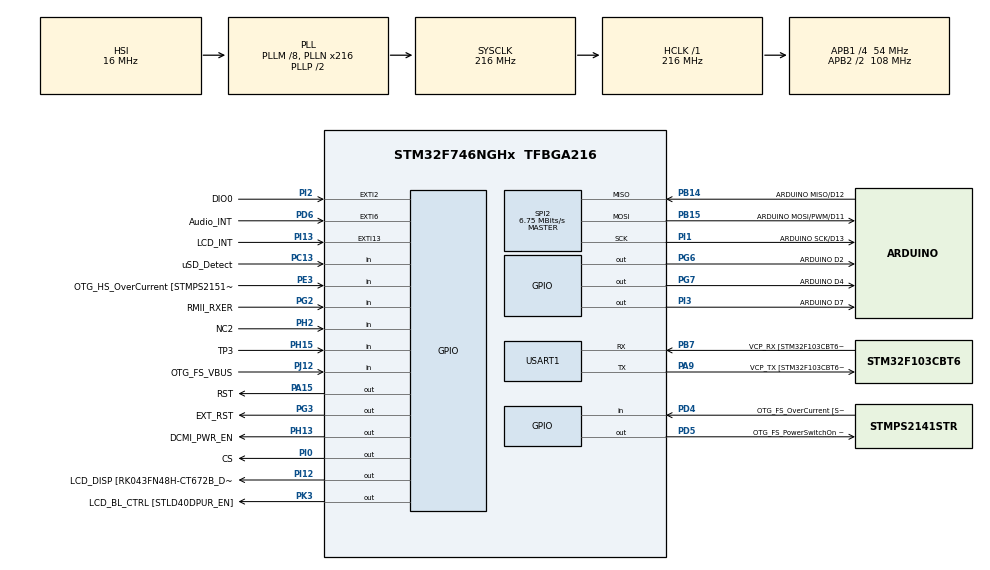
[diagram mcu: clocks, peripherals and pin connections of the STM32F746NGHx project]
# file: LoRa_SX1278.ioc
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Mcu.Family=STM32F7
Mcu.Name=STM32F746NGHx
Mcu.Package=TFBGA216
NVIC.EXTI2_IRQn=true\:0\:0\:false\:false\:true\:true\:true\:true
NVIC.PriorityGroup=NVIC_PRIORITYGROUP_4
NVIC.SPI2_IRQn=true\:0\:0\:false\:false\:true\:true\:true\:true
PA0/WKUP.GPIO_Label=ARDUINO A0
PA0/WKUP.GPIO_Mode=GPIO_MODE_ANALOG
PA0/WKUP.GPIO_PuPd=GPIO_NOPULL
PA0/WKUP.Signal=ADCx_IN0
PA1.GPIO_Label=RMII_REF_CLK [LAN8742A-CZ-TR_REFCLK0]
PA1.Signal=ETH_REF_CLK
PA10.GPIO_Label=OTG_FS_ID
PA10.Signal=USB_OTG_FS_ID
PA11.GPIO_Label=OTG_FS_N
PA11.Signal=USB_OTG_FS_DM
PA12.GPIO_Label=OTG_FS_P
PA12.Signal=USB_OTG_FS_DP
PA13.GPIO_Label=SWDIO
PA13.Mode=Serial_Wire
PA13.Signal=SYS_JTMS-SWDIO
PA14.GPIO_Label=SWCLK
PA14.Mode=Serial_Wire
PA14.Signal=SYS_JTCK-SWCLK
PA15.GPIO_Label=RST
PA15.PinState=GPIO_PIN_SET
PA15.Signal=GPIO_Output
PA2.GPIO_Label=RMII_MDIO [LAN8742A-CZ-TR_MDIO]
PA2.Signal=ETH_MDIO
PA3.GPIO_Label=ULPI_D0 [USB3320C-EZK_D0]
PA3.Signal=USB_OTG_HS_ULPI_D0
PA4.GPIO_Label=DCMI_HSYNC
PA4.Signal=DCMI_HSYNC
PA5.GPIO_Label=ULPI_CLK [USB3320C-EZK_CLKOUT]
PA5.Signal=USB_OTG_HS_ULPI_CK
PA6.Signal=DCMI_PIXCLK
PA7.GPIO_Label=RMII_CRS_DV [LAN8742A-CZ-TR_CRS_DV]
PA7.Signal=ETH_CRS_DV
PA8.GPIO_Label=ARDUINO PWM/D10
PA8.GPIO_ModeDefaultPP=GPIO_MODE_AF_PP
PA8.GPIO_PuPd=GPIO_NOPULL
PA8.GPIO_Speed=GPIO_SPEED_FREQ_LOW
PA8.Signal=S_TIM1_CH1
PA9.GPIO_Label=VCP_TX [STM32F103CBT6_PA3]
PA9.GPIO_Mode=GPIO_MODE_AF_PP
PA9.GPIO_PuPd=GPIO_NOPULL
PA9.GPIO_Speed=GPIO_SPEED_FREQ_LOW
PA9.Mode=Asynchronous
PA9.Signal=USART1_TX
PB0.GPIO_Label=ULPI_D1 [USB3320C-EZK_D1]
PB0.Signal=USB_OTG_HS_ULPI_D1
PB1.GPIO_Label=ULPI_D2 [USB3320C-EZK_D2]
PB1.Signal=USB_OTG_HS_ULPI_D2
PB10.GPIO_Label=ULPI_D3 [USB3320C-EZK_D3]
PB10.Signal=USB_OTG_HS_ULPI_D3
PB11.GPIO_Label=ULPI_D4 [USB3320C-EZK_D4]
PB11.Signal=USB_OTG_HS_ULPI_D4
PB12.GPIO_Label=ULPI_D5 [USB3320C-EZK_D5]
PB12.Signal=USB_OTG_HS_ULPI_D5
PB13.GPIO_Label=ULPI_D6 [USB3320C-EZK_D6]
PB13.Signal=USB_OTG_HS_ULPI_D6
PB14.GPIO_Label=ARDUINO MISO/D12
PB14.GPIO_Mode=GPIO_MODE_AF_PP
PB14.GPIO_PuPd=GPIO_NOPULL
PB14.GPIO_Speed=GPIO_SPEED_FREQ_LOW
PB14.Mode=Full_Duplex_Master
PB14.Signal=SPI2_MISO
PB15.GPIO_Label=ARDUINO MOSI/PWM/D11
PB15.GPIO_Mode=GPIO_MODE_AF_PP
PB15.GPIO_PuPd=GPIO_NOPULL
PB15.GPIO_Speed=GPIO_SPEED_FREQ_LOW
PB15.Mode=Full_Duplex_Master
PB15.Signal=SPI2_MOSI
PB2.Signal=QUADSPI_CLK
PB3.GPIO_Label=SWO
PB3.Signal=SYS_JTDO-SWO
PB4.GPIO_Label=ARDUINO PWM/D3
PB4.GPIO_ModeDefaultPP=GPIO_MODE_AF_PP
PB4.GPIO_PuPd=GPIO_NOPULL
PB4.GPIO_Speed=GPIO_SPEED_FREQ_LOW
PB4.Signal=S_TIM3_CH1
PB5.GPIO_Label=ULPI_D7 [USB3320C-EZK_D7]
PB5.Signal=USB_OTG_HS_ULPI_D7
PB6.GPIO_Label=QSPI_NCS [N25Q128A13EF840E_S]
PB6.Signal=QUADSPI_BK1_NCS
PB7.GPIO_Label=VCP_RX [STM32F103CBT6_PA2]
PB7.GPIO_Mode=GPIO_MODE_AF_PP
PB7.GPIO_PuPd=GPIO_NOPULL
PB7.GPIO_Speed=GPIO_SPEED_FREQ_LOW
PB7.Mode=Asynchronous
PB7.Signal=USART1_RX
PB8.GPIO_Label=ARDUINO SCL/D15
PB8.GPIO_Mode=GPIO_MODE_AF_OD
PB8.GPIO_PuPd=GPIO_NOPULL
PB8.GPIO_Speed=GPIO_SPEED_FREQ_LOW
PB8.Signal=I2C1_SCL
PB9.GPIO_Label=ARDUINO SDA/D14
PB9.GPIO_Mode=GPIO_MODE_AF_OD
PB9.GPIO_PuPd=GPIO_NOPULL
PB9.GPIO_Speed=GPIO_SPEED_FREQ_LOW
PB9.Signal=I2C1_SDA
PC0.GPIO_Label=ULPI_STP [USB3320C-EZK_STP]
PC0.Signal=USB_OTG_HS_ULPI_STP
PC1.GPIO_Label=RMII_MDC [LAN8742A-CZ-TR_MDC]
PC1.Signal=ETH_MDC
PC10.GPIO_Label=SDMMC_D2
PC10.Signal=SDMMC1_D2
PC11.GPIO_Label=SDMMC_D3
PC11.Signal=SDMMC1_D3
PC12.GPIO_Label=SDMMC_CK
PC12.Signal=SDMMC1_CK
PC13.GPIO_Label=uSD_Detect
PC13.Signal=GPIO_Input
PC14/OSC32_IN.GPIO_Label=RCC_OSC32_IN
PC14/OSC32_IN.Mode=LSE-External-Oscillator
PC14/OSC32_IN.Signal=RCC_OSC32_IN
PC15/OSC32_OUT.GPIO_Label=RCC_OSC32_OUT
PC15/OSC32_OUT.Mode=LSE-External-Oscillator
PC15/OSC32_OUT.Signal=RCC_OSC32_OUT
PC2.GPIO_Label=ULPI_DIR [USB3320C-EZK_DIR]
PC2.Signal=USB_OTG_HS_ULPI_DIR
PC3.GPIO_Label=FMC_SDCKE0 [MT48LC4M32B2B5-6A_CKE]
PC3.Signal=FMC_SDCKE0
PC4.GPIO_Label=RMII_RXD0 [LAN8742A-CZ-TR_RXD0]
PC4.Signal=ETH_RXD0
PC5.GPIO_Label=RMII_RXD1 [LAN8742A-CZ-TR_RXD1]
PC5.Signal=ETH_RXD1
PC6.GPIO_Label=ARDUINO TX/D1
PC6.Signal=USART6_TX
PC7.GPIO_Label=ARDUINO RX/D0
PC7.Signal=USART6_RX
PC8.Signal=SDMMC1_D0
PC9.Signal=SDMMC1_D1
PD0.GPIO_Label=FMC_D2 [MT48LC4M32B2B5-6A_DQ2]
PD0.Signal=FMC_D2_DA2
PD1.GPIO_Label=FMC_D3 [MT48LC4M32B2B5-6A_DQ3]
PD1.Signal=FMC_D3_DA3
PD10.GPIO_Label=FMC_D15 [MT48LC4M32B2B5-6A_DQ15]
PD10.Signal=FMC_D15_DA15
PD11.GPIO_Label=QSPI_D0 [N25Q128A13EF840E_DQ0]
PD11.Signal=QUADSPI_BK1_IO0
PD12.GPIO_Label=QSPI_D1 [N25Q128A13EF840E_DQ1]
PD12.Signal=QUADSPI_BK1_IO1
PD13.GPIO_Label=QSPI_D3 [N25Q128A13EF840E_DQ3]
PD13.Signal=QUADSPI_BK1_IO3
PD14.GPIO_Label=FMC_D0 [MT48LC4M32B2B5-6A_DQ0]
PD14.Signal=FMC_D0_DA0
PD15.GPIO_Label=FMC_D1 [MT48LC4M32B2B5-6A_DQ1]
PD15.Signal=FMC_D1_DA1
PD2.GPIO_Label=SDMMC_D0
PD2.Signal=SDMMC1_CMD
PD3.GPIO_Label=DCMI_D5
PD3.Signal=DCMI_D5
PD4.GPIO_Label=OTG_FS_OverCurrent [STMPS2141STR_Fault]
PD4.Signal=GPIO_Input
PD5.GPIO_Label=OTG_FS_PowerSwitchOn [STMPS2141STR_EN]
PD5.PinState=GPIO_PIN_SET
PD5.Signal=GPIO_Output
PD6.GPIO_Label=Audio_INT
PD6.GPIO_ModeDefaultEXTI=GPIO_MODE_EVT_RISING
PD6.Signal=GPXTI6
PD7.GPIO_Label=SPDIF_RX0 [74LVC1G04SE_4]
PD7.Signal=SPDIFRX_IN0
PD8.GPIO_Label=FMC_D13 [MT48LC4M32B2B5-6A_DQ13]
PD8.Signal=FMC_D13_DA13
PD9.GPIO_Label=FMC_D14 [MT48LC4M32B2B5-6A_DQ14]
PD9.Signal=FMC_D14_DA14
PE0.GPIO_Label=FMC_NBL0 [MT48LC4M32B2B5-6A_DQM0]
PE0.Signal=FMC_NBL0
PE1.GPIO_Label=FMC_NBL1 [MT48LC4M32B2B5-6A_DQM1]
PE1.Signal=FMC_NBL1
PE10.GPIO_Label=FMC_D7 [MT48LC4M32B2B5-6A_DQ7]
PE10.Signal=FMC_D7_DA7
PE11.GPIO_Label=FMC_D8 [MT48LC4M32B2B5-6A_DQ8]
PE11.Signal=FMC_D8_DA8
PE12.GPIO_Label=FMC_D9 [MT48LC4M32B2B5-6A_DQ9]
PE12.Signal=FMC_D9_DA9
PE13.GPIO_Label=FMC_D10 [MT48LC4M32B2B5-6A_DQ10]
PE13.Signal=FMC_D10_DA10
PE14.GPIO_Label=FMC_D11 [MT48LC4M32B2B5-6A_DQ11]
PE14.Signal=FMC_D11_DA11
PE15.GPIO_Label=FMC_D12 [MT48LC4M32B2B5-6A_DQ12]
PE15.Signal=FMC_D12_DA12
PE2.GPIO_Label=QSPI_D2 [N25Q128A13EF840E_DQ2]
PE2.Signal=QUADSPI_BK1_IO2
PE3.GPIO_Label=OTG_HS_OverCurrent [STMPS2151STR_FAULT]
PE3.Signal=GPIO_Input
PE4.GPIO_Label=LCD_B0 [RK043FN48H-CT672B_B0]
PE4.Signal=LTDC_B0
PE5.GPIO_Label=DCMI_D6
PE5.Signal=DCMI_D6
PE6.GPIO_Label=DCMI_D7
PE6.Signal=DCMI_D7
PE7.GPIO_Label=FMC_D4 [MT48LC4M32B2B5-6A_DQ4]
PE7.Signal=FMC_D4_DA4
PE8.GPIO_Label=FMC_D5 [MT48LC4M32B2B5-6A_DQ5]
PE8.Signal=FMC_D5_DA5
PE9.GPIO_Label=FMC_D6 [MT48LC4M32B2B5-6A_DQ6]
PE9.Signal=FMC_D6_DA6
PF0.GPIO_Label=FMC_A0 [MT48LC4M32B2B5-6A_A0]
PF0.Signal=FMC_A0
PF1.GPIO_Label=FMC_A1 [MT48LC4M32B2B5-6A_A1]
PF1.Signal=FMC_A1
PF10.GPIO_Label=ARDUINO A1
PF10.GPIO_Mode=GPIO_MODE_ANALOG
PF10.GPIO_PuPd=GPIO_NOPULL
PF10.Signal=ADC3_IN8
PF11.GPIO_Label=FMC_SDNRAS [MT48LC4M32B2B5-6A_RAS]
PF11.Signal=FMC_SDNRAS
PF12.GPIO_Label=FMC_A6 [MT48LC4M32B2B5-6A_A6]
PF12.Signal=FMC_A6
PF13.GPIO_Label=FMC_A7 [MT48LC4M32B2B5-6A_A7]
PF13.Signal=FMC_A7
PF14.GPIO_Label=FMC_A8 [MT48LC4M32B2B5-6A_A8]
PF14.Signal=FMC_A8
PF15.GPIO_Label=FMC_A9 [MT48LC4M32B2B5-6A_A9]
PF15.Signal=FMC_A9
PF2.GPIO_Label=FMC_A2 [MT48LC4M32B2B5-6A_A2]
PF2.Signal=FMC_A2
PF3.GPIO_Label=FMC_A3 [MT48LC4M32B2B5-6A_A3]
PF3.Signal=FMC_A3
PF4.GPIO_Label=FMC_A4 [MT48LC4M32B2B5-6A_A4]
PF4.Signal=FMC_A4
PF5.GPIO_Label=FMC_A5 [MT48LC4M32B2B5-6A_A5]
PF5.Signal=FMC_A5
PF6.GPIO_Label=ARDUINO A5
PF6.GPIO_Mode=GPIO_MODE_ANALOG
PF6.GPIO_PuPd=GPIO_NOPULL
PF6.Signal=ADC3_IN4
PF7.GPIO_Label=ARDUINO A4
PF7.GPIO_Mode=GPIO_MODE_ANALOG
PF7.GPIO_PuPd=GPIO_NOPULL
PF7.Signal=ADC3_IN5
PF8.GPIO_Label=ARDUINO A3
PF8.GPIO_Mode=GPIO_MODE_ANALOG
PF8.GPIO_PuPd=GPIO_NOPULL
PF8.Signal=ADC3_IN6
PF9.GPIO_Label=ARDUINO A2
PF9.GPIO_Mode=GPIO_MODE_ANALOG
PF9.GPIO_PuPd=GPIO_NOPULL
PF9.Signal=ADC3_IN7
PG0.GPIO_Label=FMC_A10 [MT48LC4M32B2B5-6A_A10]
PG0.Signal=FMC_A10
PG1.GPIO_Label=FMC_A11 [MT48LC4M32B2B5-6A_A11]
PG1.Signal=FMC_A11
PG10.GPIO_Label=SAI2_SDB [WM8994ECS/R_ADCDAT1]
PG10.Signal=SAI2_SD_B
PG11.GPIO_Label=RMII_TX_EN [LAN8742A-CZ-TR_TXEN]
PG11.Signal=ETH_TX_EN
PG12.GPIO_Label=LCD_B4 [RK043FN48H-CT672B_B4]
PG12.Signal=LTDC_B4
PG13.GPIO_Label=RMII_TXD0 [LAN8742A-CZ-TR_TXD0]
PG13.Signal=ETH_TXD0
PG14.GPIO_Label=RMII_TXD1 [LAN8742A-CZ-TR_TXD1]
PG14.Signal=ETH_TXD1
PG15.GPIO_Label=FMC_SDNCAS [MT48LC4M32B2B5-6A_CAS]
PG15.Signal=FMC_SDNCAS
PG2.GPIO_Label=RMII_RXER
PG2.Signal=GPIO_Input
PG3.GPIO_Label=EXT_RST
PG3.Signal=GPIO_Output
PG4.GPIO_Label=FMC_BA0 [MT48LC4M32B2B5-6A_BA0]
PG4.Signal=FMC_A14_BA0
PG5.GPIO_Label=FMC_BA1 [MT48LC4M32B2B5-6A_BA1]
PG5.Signal=FMC_A15_BA1
PG6.GPIO_Label=ARDUINO D2
PG6.Signal=GPIO_Output
PG7.GPIO_Label=ARDUINO D4
PG7.Signal=GPIO_Output
PG8.GPIO_Label=FMC_SDCLK [MT48LC4M32B2B5-6A_CLK]
PG8.Signal=FMC_SDCLK
PG9.GPIO_Label=DCMI_VSYNC
PG9.Signal=DCMI_VSYNC
PH0/OSC_IN.GPIO_Label=OSC_25M [NZ2520SB-25.00M_OUT]
PH0/OSC_IN.Mode=HSE-External-Oscillator
PH0/OSC_IN.Signal=RCC_OSC_IN
PH1/OSC_OUT.Mode=HSE-External-Oscillator
PH1/OSC_OUT.Signal=RCC_OSC_OUT
PH10.GPIO_Label=DCMI_D1
PH10.Signal=DCMI_D1
PH11.GPIO_Label=DCMI_D2
PH11.Signal=DCMI_D2
PH12.GPIO_Label=DCMI_D3
PH12.Signal=DCMI_D3
PH13.GPIO_Label=DCMI_PWR_EN
PH13.Signal=GPIO_Output
PH14.GPIO_Label=DCMI_D4
PH14.Signal=DCMI_D4
PH15.GPIO_Label=TP3
PH15.Signal=GPIO_Input
PH2.GPIO_Label=NC2
PH2.Signal=GPIO_Input
PH3.GPIO_Label=FMC_SDNE0 [MT48LC4M32B2B5-6A_CS]
PH3.Signal=FMC_SDNE0
PH4.GPIO_Label=ULPI_NXT [USB3320C-EZK_NXT]
PH4.Signal=USB_OTG_HS_ULPI_NXT
PH5.GPIO_Label=FMC_SDNME [MT48LC4M32B2B5-6A_WE]
PH5.Signal=FMC_SDNWE
PH6.GPIO_Label=ARDUINO PWM/D6
PH6.Signal=S_TIM12_CH1
PH7.GPIO_Label=LCD_SCL [RK043FN48H-CT672B_SCL]
PH7.Signal=I2C3_SCL
PH8.GPIO_Label=LCD_SDA [RK043FN48H-CT672B_SDA]
PH8.Signal=I2C3_SDA
PH9.GPIO_Label=DCMI_D0
PH9.Signal=DCMI_D0
PI0.GPIO_Label=CS
PI0.PinState=GPIO_PIN_SET
PI0.Signal=GPIO_Output
PI1.GPIO_Label=ARDUINO SCK/D13
PI1.GPIO_Mode=GPIO_MODE_AF_PP
PI1.GPIO_PuPd=GPIO_NOPULL
PI1.GPIO_Speed=GPIO_SPEED_FREQ_LOW
PI1.Mode=Full_Duplex_Master
PI1.Signal=SPI2_SCK
PI10.GPIO_Label=LCD_HSYNC [RK043FN48H-CT672B_HSYNC]
PI10.Signal=LTDC_HSYNC
PI12.GPIO_Label=LCD_DISP [RK043FN48H-CT672B_DISP] 
PI12.Signal=GPIO_Output
PI13.GPIO_Label=LCD_INT
PI13.GPIO_ModeDefaultEXTI=GPIO_MODE_EVT_RISING
PI13.Signal=GPXTI13
PI14.GPIO_Label=LCD_CLK [RK043FN48H-CT672B_CLK]
PI14.Signal=LTDC_CLK
PI15.GPIO_Label=LCD_R0 [RK043FN48H-CT672B_R0]
PI15.Signal=LTDC_R0
PI2.GPIO_Label=DIO0
PI2.Signal=GPXTI2
PI3.GPIO_Label=ARDUINO D7
PI3.Signal=GPIO_Output
PI4.GPIO_Label=SAI2_MCLKA [WM8994ECS/R_MCLK1]
PI4.Signal=SAI2_MCLK_A
PI5.GPIO_Label=SAI2_SCKA [WM8994ECS/R_BCLK1]
PI5.Signal=SAI2_SCK_A
PI6.GPIO_Label=SAI2_SDA [WM8994ECS/R_DACDAT1]
PI6.Signal=SAI2_SD_A
PI7.GPIO_Label=SAI2_FSA [WM8994ECS/R_LRCLK1]
PI7.Signal=SAI2_FS_A
PI8.GPIO_Label=NC1 [TP2]
PI8.Signal=RTC_TS
PI9.GPIO_Label=LCD_VSYNC [RK043FN48H-CT672B_VSYNC]
PI9.Signal=LTDC_VSYNC
PJ0.GPIO_Label=LCD_R1 [RK043FN48H-CT672B_R1]
PJ0.Signal=LTDC_R1
PJ1.GPIO_Label=LCD_R2 [RK043FN48H-CT672B_R2]
PJ1.Signal=LTDC_R2
PJ10.GPIO_Label=LCD_G3 [RK043FN48H-CT672B_G3]
PJ10.Signal=LTDC_G3
PJ11.GPIO_Label=LCD_G4 [RK043FN48H-CT672B_G4]
PJ11.Signal=LTDC_G4
PJ12.GPIO_Label=OTG_FS_VBUS
PJ12.Signal=GPIO_Input
PJ13.GPIO_Label=LCD_B1 [RK043FN48H-CT672B_B1]
PJ13.Signal=LTDC_B1
PJ14.GPIO_Label=LCD_B2 [RK043FN48H-CT672B_B2]
PJ14.Signal=LTDC_B2
PJ15.GPIO_Label=LCD_B3 [RK043FN48H-CT672B_B3]
PJ15.Signal=LTDC_B3
PJ2.GPIO_Label=LCD_R3 [RK043FN48H-CT672B_R3]
PJ2.Signal=LTDC_R3
PJ3.GPIO_Label=LCD_R4 [RK043FN48H-CT672B_R4]
PJ3.Signal=LTDC_R4
PJ4.GPIO_Label=LCD_R5 [RK043FN48H-CT672B_R5]
PJ4.Signal=LTDC_R5
PJ5.GPIO_Label=LCD_R6 [RK043FN48H-CT672B_R6]
PJ5.Signal=LTDC_R6
PJ6.GPIO_Label=LCD_R7 [RK043FN48H-CT672B_R7]
PJ6.Signal=LTDC_R7
PJ7.GPIO_Label=LCD_G0 [RK043FN48H-CT672B_G0]
PJ7.Signal=LTDC_G0
PJ8.GPIO_Label=LCD_G1 [RK043FN48H-CT672B_G1]
PJ8.Signal=LTDC_G1
PJ9.GPIO_Label=LCD_G2 [RK043FN48H-CT672B_G2]
PJ9.Signal=LTDC_G2
PK0.GPIO_Label=LCD_G5 [RK043FN48H-CT672B_G5]
PK0.Signal=LTDC_G5
PK1.GPIO_Label=LCD_G6 [RK043FN48H-CT672B_G6]
PK1.Signal=LTDC_G6
PK2.GPIO_Label=LCD_G7 [RK043FN48H-CT672B_G7]
PK2.Signal=LTDC_G7
PK3.GPIO_Label=LCD_BL_CTRL [STLD40DPUR_EN]
PK3.Signal=GPIO_Output
PK4.GPIO_Label=LCD_B5 [RK043FN48H-CT672B_B5]
PK4.Signal=LTDC_B5
PK5.GPIO_Label=LCD_B6 [RK043FN48H-CT672B_B6]
PK5.Signal=LTDC_B6
PK6.GPIO_Label=LCD_B7 [RK043FN48H-CT672B_B7]
PK6.Signal=LTDC_B7
PK7.GPIO_Label=LCD_DE [RK043FN48H-CT672B_DE]
PK7.Signal=LTDC_DE
ProjectManager.HeapSize=0x200
ProjectManager.StackSize=0x400
ProjectManager.TargetToolchain=STM32CubeIDE
RCC.AHBFreq_Value=216000000
RCC.APB1CLKDivider=RCC_HCLK_DIV4
RCC.APB1Freq_Value=54000000
RCC.APB1TimFreq_Value=108000000
RCC.APB2CLKDivider=RCC_HCLK_DIV2
RCC.APB2Freq_Value=108000000
RCC.APB2TimFreq_Value=216000000
RCC.CortexFreq_Value=216000000
RCC.HCLKFreq_Value=216000000
RCC.HSE_VALUE=25000000
RCC.HSI_VALUE=16000000
RCC.PLLM=8
RCC.PLLN=216
RCC.PLLSourceVirtual=RCC_PLLSOURCE_HSI
RCC.SYSCLKFreq_VALUE=216000000
RCC.SYSCLKSource=RCC_SYSCLKSOURCE_PLLCLK
RCC.USBFreq_Value=216000000
RCC.VCOOutputFreq_Value=432000000
SH.ADCx_IN0.0=ADC3_IN0
SH.FMC_A0.0=FMC_A0
SH.FMC_A1.0=FMC_A1
SH.FMC_A10.0=FMC_A10
SH.FMC_A11.0=FMC_A11
SH.FMC_A14_BA0.0=FMC_BA0
SH.FMC_A15_BA1.0=FMC_BA1
SH.FMC_A2.0=FMC_A2
SH.FMC_A3.0=FMC_A3
SH.FMC_A4.0=FMC_A4
SH.FMC_A5.0=FMC_A5
SH.FMC_A6.0=FMC_A6
SH.FMC_A7.0=FMC_A7
SH.FMC_A8.0=FMC_A8
SH.FMC_A9.0=FMC_A9
SH.FMC_D0_DA0.0=FMC_D0
SH.FMC_D10_DA10.0=FMC_D10
SH.FMC_D11_DA11.0=FMC_D11
SH.FMC_D12_DA12.0=FMC_D12
SH.FMC_D13_DA13.0=FMC_D13
SH.FMC_D14_DA14.0=FMC_D14
SH.FMC_D15_DA15.0=FMC_D15
SH.FMC_D1_DA1.0=FMC_D1
SH.FMC_D2_DA2.0=FMC_D2
SH.FMC_D3_DA3.0=FMC_D3
SH.FMC_D4_DA4.0=FMC_D4
SH.FMC_D5_DA5.0=FMC_D5
SH.FMC_D6_DA6.0=FMC_D6
SH.FMC_D7_DA7.0=FMC_D7
SH.FMC_D8_DA8.0=FMC_D8
SH.FMC_D9_DA9.0=FMC_D9
SH.FMC_NBL0.0=FMC_NBL0
SH.FMC_NBL1.0=FMC_NBL1
SH.FMC_SDCLK.0=FMC_SDCLK
SH.FMC_SDNCAS.0=FMC_SDNCAS
SH.FMC_SDNRAS.0=FMC_SDNRAS
SH.FMC_SDNWE.0=FMC_SDNWE
SH.S_TIM12_CH1.0=TIM12_CH1
SH.S_TIM1_CH1.0=TIM1_CH1
SH.S_TIM3_CH1.0=TIM3_CH1
SPI2.BaudRatePrescaler=SPI_BAUDRATEPRESCALER_8
SPI2.CalculateBaudRate=6.75 MBits/s
SPI2.DataSize=SPI_DATASIZE_8BIT
SPI2.Direction=SPI_DIRECTION_2LINES
SPI2.Mode=SPI_MODE_MASTER
SPI2.NSSPMode=SPI_NSS_PULSE_DISABLE
SPI2.VirtualType=VM_MASTER
USART1.VirtualMode-Asynchronous=VM_ASYNC
board=STM32F746G-DISCO

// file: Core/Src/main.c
/* USER CODE BEGIN Header */
/**
  ******************************************************************************
  * @file           : main.c
  * @brief          : Main program body
  ******************************************************************************
  * @attention
  *
  * Copyright (c) 2025 STMicroelectronics.
  * All rights reserved.
  *
  * This software is licensed under terms that can be found in the LICENSE file
  * in the root directory of this software component.
  * If no LICENSE file comes with this software, it is provided AS-IS.
  *
  ******************************************************************************
  */
/* USER CODE END Header */
#include "main.h"
#include <stdio.h>
#include <string.h>
#include "LoRa.h"

SPI_HandleTypeDef hspi2;

UART_HandleTypeDef huart1;

void SystemClock_Config(void);
static void MX_GPIO_Init(void);
static void MX_SPI2_Init(void);
static void MX_USART1_UART_Init(void);

/* USER CODE BEGIN 0 */
int __io_putchar(int ch){
	uint8_t c = (uint8_t)ch;
	HAL_UART_Transmit(&huart1, &c, 1, HAL_MAX_DELAY);
	return ch;
}
int fputc(int ch, FILE *f){
	return __io_putchar(ch);
}

#ifndef LORA_CS_GPIO_Port
  #define LORA_CS_GPIO_Port GPIOI
  #define LORA_CS_Pin GPIO_PIN_0
#endif

#ifndef LORA_RST_GPIO_Port
  #define LORA_RST_GPIO_Port GPIOA
  #define LORA_RST_Pin GPIO_PIN_15
#endif

#ifndef LORA_DIO0_GPIO_Port
  #define LORA_DIO0_GPIO_Port GPIOI
  #define LORA_DIO0_Pin GPIO_PIN_2
#endif
/* USER CODE END 0 */

int main(void)
{

  /* MCU Configuration--------------------------------------------------------*/

  /* Reset of all peripherals, Initializes the Flash interface and the Systick. */
  HAL_Init();

  /* Configure the system clock */
  SystemClock_Config();

  /* Initialize all configured peripherals */
  MX_GPIO_Init();
  MX_SPI2_Init();
  MX_USART1_UART_Init();
  /* USER CODE BEGIN 2 */
  LoRa lora = newLoRa();
  lora.CS_port = LORA_CS_GPIO_Port;
  lora.CS_pin = LORA_CS_Pin;
  lora.reset_port = LORA_RST_GPIO_Port;
  lora.reset_pin = LORA_RST_Pin;
  lora.DIO0_port = LORA_DIO0_GPIO_Port;
  lora.DIO0_pin = LORA_DIO0_Pin;
  lora.hSPIx = &hspi2;

  printf("\r\n=== LoRa SX1278 on STM32F746G-DISCO ===\r\n");

      /* ensure CS high */
      HAL_GPIO_WritePin(lora.CS_port, lora.CS_pin, GPIO_PIN_SET);
      /* reset module */
      LoRa_reset(&lora);
      HAL_Delay(10);

      uint16_t rc = LoRa_init(&lora);
      if(rc == LORA_OK){
          printf("LoRa init: OK\r\n");
      } else {
          printf("LoRa init: FAILED (code %u)\r\n", rc);
          // nếu cần debug -> stop hoặc tiếp tục tùy bạn
      }

      /* thử transmit 'G' */
      uint8_t msg[] = "G";
      if(LoRa_transmit(&lora, msg, 1, 2000)){
          printf("Transmission OK: sent 'G'\r\n");
      } else {
          printf("Transmission failed.\r\n");
      }

      /* Start receiving in background (module RX continuous) */
      LoRa_startReceiving(&lora);
      printf("LoRa set to RX continuous. Waiting packets...\r\n");

      /* main loop: poll DIO0 or poll IRQ registers (simple approach) */

  /* USER CODE END 2 */

  /* Infinite loop */
  while (1)
  {
	  uint8_t buf[64];
	  uint8_t n = LoRa_receive(&lora, buf, sizeof(buf));
	  if(n){
		  buf[n] = 0;
		  printf("RX (%u): %s\r\n", n, buf);
	  }
	  HAL_Delay(200);
  }
}

void SystemClock_Config(void)
{
  RCC_OscInitTypeDef RCC_OscInitStruct = {0};
  RCC_ClkInitTypeDef RCC_ClkInitStruct = {0};

  /** Configure LSE Drive Capability
  */
  HAL_PWR_EnableBkUpAccess();

  /** Configure the main internal regulator output voltage
  */
  __HAL_RCC_PWR_CLK_ENABLE();
  __HAL_PWR_VOLTAGESCALING_CONFIG(PWR_REGULATOR_VOLTAGE_SCALE1);

  /** Initializes the RCC Oscillators according to the specified parameters
  * in the RCC_OscInitTypeDef structure.
  */
  RCC_OscInitStruct.OscillatorType = RCC_OSCILLATORTYPE_HSI;
  RCC_OscInitStruct.HSIState = RCC_HSI_ON;
  RCC_OscInitStruct.HSICalibrationValue = RCC_HSICALIBRATION_DEFAULT;
  RCC_OscInitStruct.PLL.PLLState = RCC_PLL_ON;
  RCC_OscInitStruct.PLL.PLLSource = RCC_PLLSOURCE_HSI;
  RCC_OscInitStruct.PLL.PLLM = 8;
  RCC_OscInitStruct.PLL.PLLN = 216;
  RCC_OscInitStruct.PLL.PLLP = RCC_PLLP_DIV2;
  RCC_OscInitStruct.PLL.PLLQ = 2;
  if (HAL_RCC_OscConfig(&RCC_OscInitStruct) != HAL_OK)
  {
    Error_Handler();
  }

  /** Activate the Over-Drive mode
  */
  if (HAL_PWREx_EnableOverDrive() != HAL_OK)
  {
    Error_Handler();
  }

  /** Initializes the CPU, AHB and APB buses clocks
  */
  RCC_ClkInitStruct.ClockType = RCC_CLOCKTYPE_HCLK|RCC_CLOCKTYPE_SYSCLK
                              |RCC_CLOCKTYPE_PCLK1|RCC_CLOCKTYPE_PCLK2;
  RCC_ClkInitStruct.SYSCLKSource = RCC_SYSCLKSOURCE_PLLCLK;
  RCC_ClkInitStruct.AHBCLKDivider = RCC_SYSCLK_DIV1;
  RCC_ClkInitStruct.APB1CLKDivider = RCC_HCLK_DIV4;
  RCC_ClkInitStruct.APB2CLKDivider = RCC_HCLK_DIV2;

  if (HAL_RCC_ClockConfig(&RCC_ClkInitStruct, FLASH_LATENCY_7) != HAL_OK)
  {
    Error_Handler();
  }
}

static void MX_SPI2_Init(void)
{

  /* SPI2 parameter configuration*/
  hspi2.Instance = SPI2;
  hspi2.Init.Mode = SPI_MODE_MASTER;
  hspi2.Init.Direction = SPI_DIRECTION_2LINES;
  hspi2.Init.DataSize = SPI_DATASIZE_8BIT;
  hspi2.Init.CLKPolarity = SPI_POLARITY_LOW;
  hspi2.Init.CLKPhase = SPI_PHASE_1EDGE;
  hspi2.Init.NSS = SPI_NSS_SOFT;
  hspi2.Init.BaudRatePrescaler = SPI_BAUDRATEPRESCALER_8;
  hspi2.Init.FirstBit = SPI_FIRSTBIT_MSB;
  hspi2.Init.TIMode = SPI_TIMODE_DISABLE;
  hspi2.Init.CRCCalculation = SPI_CRCCALCULATION_DISABLE;
  hspi2.Init.CRCPolynomial = 7;
  hspi2.Init.CRCLength = SPI_CRC_LENGTH_DATASIZE;
  hspi2.Init.NSSPMode = SPI_NSS_PULSE_DISABLE;
  if (HAL_SPI_Init(&hspi2) != HAL_OK)
  {
    Error_Handler();
  }

}

static void MX_USART1_UART_Init(void)
{

  huart1.Instance = USART1;
  huart1.Init.BaudRate = 115200;
  huart1.Init.WordLength = UART_WORDLENGTH_8B;
  huart1.Init.StopBits = UART_STOPBITS_1;
  huart1.Init.Parity = UART_PARITY_NONE;
  huart1.Init.Mode = UART_MODE_TX_RX;
  huart1.Init.HwFlowCtl = UART_HWCONTROL_NONE;
  huart1.Init.OverSampling = UART_OVERSAMPLING_16;
  huart1.Init.OneBitSampling = UART_ONE_BIT_SAMPLE_DISABLE;
  huart1.AdvancedInit.AdvFeatureInit = UART_ADVFEATURE_NO_INIT;
  if (HAL_UART_Init(&huart1) != HAL_OK)
  {
    Error_Handler();
  }

}

static void MX_GPIO_Init(void)
{
  GPIO_InitTypeDef GPIO_InitStruct = {0};

  /* GPIO Ports Clock Enable */
  __HAL_RCC_GPIOE_CLK_ENABLE();
  __HAL_RCC_GPIOG_CLK_ENABLE();
  __HAL_RCC_GPIOB_CLK_ENABLE();
  __HAL_RCC_GPIOD_CLK_ENABLE();
  __HAL_RCC_GPIOC_CLK_ENABLE();
  __HAL_RCC_GPIOA_CLK_ENABLE();
  __HAL_RCC_GPIOJ_CLK_ENABLE();
  __HAL_RCC_GPIOI_CLK_ENABLE();
  __HAL_RCC_GPIOK_CLK_ENABLE();
  __HAL_RCC_GPIOF_CLK_ENABLE();
  __HAL_RCC_GPIOH_CLK_ENABLE();

  /*Configure GPIO pin Output Level */
  HAL_GPIO_WritePin(RST_GPIO_Port, RST_Pin, GPIO_PIN_SET);

  /*Configure GPIO pin Output Level */
  HAL_GPIO_WritePin(OTG_FS_PowerSwitchOn_GPIO_Port, OTG_FS_PowerSwitchOn_Pin, GPIO_PIN_SET);

  /*Configure GPIO pin Output Level */
  HAL_GPIO_WritePin(GPIOI, ARDUINO_D7_Pin|LCD_DISP_Pin, GPIO_PIN_RESET);

  /*Configure GPIO pin Output Level */
  HAL_GPIO_WritePin(LCD_BL_CTRL_GPIO_Port, LCD_BL_CTRL_Pin, GPIO_PIN_RESET);

  /*Configure GPIO pin Output Level */
  HAL_GPIO_WritePin(DCMI_PWR_EN_GPIO_Port, DCMI_PWR_EN_Pin, GPIO_PIN_RESET);

  /*Configure GPIO pin Output Level */
  HAL_GPIO_WritePin(CS_GPIO_Port, CS_Pin, GPIO_PIN_SET);

  /*Configure GPIO pin Output Level */
  HAL_GPIO_WritePin(GPIOG, ARDUINO_D4_Pin|ARDUINO_D2_Pin|EXT_RST_Pin, GPIO_PIN_RESET);

  /*Configure GPIO pin : LCD_B0_Pin */
  GPIO_InitStruct.Pin = LCD_B0_Pin;
  GPIO_InitStruct.Mode = GPIO_MODE_AF_PP;
  GPIO_InitStruct.Pull = GPIO_NOPULL;
  GPIO_InitStruct.Speed = GPIO_SPEED_FREQ_LOW;
  GPIO_InitStruct.Alternate = GPIO_AF14_LTDC;
  HAL_GPIO_Init(LCD_B0_GPIO_Port, &GPIO_InitStruct);

  /*Configure GPIO pin : OTG_HS_OverCurrent_Pin */
  GPIO_InitStruct.Pin = OTG_HS_OverCurrent_Pin;
  GPIO_InitStruct.Mode = GPIO_MODE_INPUT;
  GPIO_InitStruct.Pull = GPIO_NOPULL;
  HAL_GPIO_Init(OTG_HS_OverCurrent_GPIO_Port, &GPIO_InitStruct);

  /*Configure GPIO pin : QSPI_D2_Pin */
  GPIO_InitStruct.Pin = QSPI_D2_Pin;
  GPIO_InitStruct.Mode = GPIO_MODE_AF_PP;
  GPIO_InitStruct.Pull = GPIO_NOPULL;
  GPIO_InitStruct.Speed = GPIO_SPEED_FREQ_VERY_HIGH;
  GPIO_InitStruct.Alternate = GPIO_AF9_QUADSPI;
  HAL_GPIO_Init(QSPI_D2_GPIO_Port, &GPIO_InitStruct);

  /*Configure GPIO pins : RMII_TXD1_Pin RMII_TXD0_Pin RMII_TX_EN_Pin */
  GPIO_InitStruct.Pin = RMII_TXD1_Pin|RMII_TXD0_Pin|RMII_TX_EN_Pin;
  GPIO_InitStruct.Mode = GPIO_MODE_AF_PP;
  GPIO_InitStruct.Pull = GPIO_NOPULL;
  GPIO_InitStruct.Speed = GPIO_SPEED_FREQ_VERY_HIGH;
  GPIO_InitStruct.Alternate = GPIO_AF11_ETH;
  HAL_GPIO_Init(GPIOG, &GPIO_InitStruct);

  /*Configure GPIO pins : FMC_NBL1_Pin FMC_NBL0_Pin FMC_D5_Pin FMC_D6_Pin
                           FMC_D8_Pin FMC_D11_Pin FMC_D4_Pin FMC_D7_Pin
                           FMC_D9_Pin FMC_D12_Pin FMC_D10_Pin */
  GPIO_InitStruct.Pin = FMC_NBL1_Pin|FMC_NBL0_Pin|FMC_D5_Pin|FMC_D6_Pin
                          |FMC_D8_Pin|FMC_D11_Pin|FMC_D4_Pin|FMC_D7_Pin
                          |FMC_D9_Pin|FMC_D12_Pin|FMC_D10_Pin;
  GPIO_InitStruct.Mode = GPIO_MODE_AF_PP;
  GPIO_InitStruct.Pull = GPIO_NOPULL;
  GPIO_InitStruct.Speed = GPIO_SPEED_FREQ_VERY_HIGH;
  GPIO_InitStruct.Alternate = GPIO_AF12_FMC;
  HAL_GPIO_Init(GPIOE, &GPIO_InitStruct);

  /*Configure GPIO pins : ARDUINO_SCL_D15_Pin ARDUINO_SDA_D14_Pin */
  GPIO_InitStruct.Pin = ARDUINO_SCL_D15_Pin|ARDUINO_SDA_D14_Pin;
  GPIO_InitStruct.Mode = GPIO_MODE_AF_OD;
  GPIO_InitStruct.Pull = GPIO_NOPULL;
  GPIO_InitStruct.Speed = GPIO_SPEED_FREQ_LOW;
  GPIO_InitStruct.Alternate = GPIO_AF4_I2C1;
  HAL_GPIO_Init(GPIOB, &GPIO_InitStruct);

  /*Configure GPIO pins : ULPI_D7_Pin ULPI_D6_Pin ULPI_D5_Pin ULPI_D3_Pin
                           ULPI_D2_Pin ULPI_D1_Pin ULPI_D4_Pin */
  GPIO_InitStruct.Pin = ULPI_D7_Pin|ULPI_D6_Pin|ULPI_D5_Pin|ULPI_D3_Pin
                          |ULPI_D2_Pin|ULPI_D1_Pin|ULPI_D4_Pin;
  GPIO_InitStruct.Mode = GPIO_MODE_AF_PP;
  GPIO_InitStruct.Pull = GPIO_NOPULL;
  GPIO_InitStruct.Speed = GPIO_SPEED_FREQ_VERY_HIGH;
  GPIO_InitStruct.Alternate = GPIO_AF10_OTG_HS;
  HAL_GPIO_Init(GPIOB, &GPIO_InitStruct);

  /*Configure GPIO pin : ARDUINO_PWM_D3_Pin */
  GPIO_InitStruct.Pin = ARDUINO_PWM_D3_Pin;
  GPIO_InitStruct.Mode = GPIO_MODE_AF_PP;
  GPIO_InitStruct.Pull = GPIO_NOPULL;
  GPIO_InitStruct.Speed = GPIO_SPEED_FREQ_LOW;
  GPIO_InitStruct.Alternate = GPIO_AF2_TIM3;
  HAL_GPIO_Init(ARDUINO_PWM_D3_GPIO_Port, &GPIO_InitStruct);

  /*Configure GPIO pin : SPDIF_RX0_Pin */
  GPIO_InitStruct.Pin = SPDIF_RX0_Pin;
  GPIO_InitStruct.Mode = GPIO_MODE_AF_PP;
  GPIO_InitStruct.Pull = GPIO_NOPULL;
  GPIO_InitStruct.Speed = GPIO_SPEED_FREQ_LOW;
  GPIO_InitStruct.Alternate = GPIO_AF8_SPDIFRX;
  HAL_GPIO_Init(SPDIF_RX0_GPIO_Port, &GPIO_InitStruct);

  /*Configure GPIO pins : SDMMC_CK_Pin SDMMC_D3_Pin SDMMC_D2_Pin PC9
                           PC8 */
  GPIO_InitStruct.Pin = SDMMC_CK_Pin|SDMMC_D3_Pin|SDMMC_D2_Pin|GPIO_PIN_9
                          |GPIO_PIN_8;
  GPIO_InitStruct.Mode = GPIO_MODE_AF_PP;
  GPIO_InitStruct.Pull = GPIO_NOPULL;
  GPIO_InitStruct.Speed = GPIO_SPEED_FREQ_VERY_HIGH;
  GPIO_InitStruct.Alternate = GPIO_AF12_SDMMC1;
  HAL_GPIO_Init(GPIOC, &GPIO_InitStruct);

  /*Configure GPIO pin : RST_Pin */
  GPIO_InitStruct.Pin = RST_Pin;
  GPIO_InitStruct.Mode = GPIO_MODE_OUTPUT_PP;
  GPIO_InitStruct.Pull = GPIO_NOPULL;
  GPIO_InitStruct.Speed = GPIO_SPEED_FREQ_LOW;
  HAL_GPIO_Init(RST_GPIO_Port, &GPIO_InitStruct);

  /*Configure GPIO pins : DCMI_D6_Pin DCMI_D7_Pin */
  GPIO_InitStruct.Pin = DCMI_D6_Pin|DCMI_D7_Pin;
  GPIO_InitStruct.Mode = GPIO_MODE_AF_PP;
  GPIO_InitStruct.Pull = GPIO_NOPULL;
  GPIO_InitStruct.Speed = GPIO_SPEED_FREQ_LOW;
  GPIO_InitStruct.Alternate = GPIO_AF13_DCMI;
  HAL_GPIO_Init(GPIOE, &GPIO_InitStruct);

  /*Configure GPIO pin : QSPI_NCS_Pin */
  GPIO_InitStruct.Pin = QSPI_NCS_Pin;
  GPIO_InitStruct.Mode = GPIO_MODE_AF_PP;
  GPIO_InitStruct.Pull = GPIO_NOPULL;
  GPIO_InitStruct.Speed = GPIO_SPEED_FREQ_VERY_HIGH;
  GPIO_InitStruct.Alternate = GPIO_AF10_QUADSPI;
  HAL_GPIO_Init(QSPI_NCS_GPIO_Port, &GPIO_InitStruct);

  /*Configure GPIO pins : FMC_SDNCAS_Pin FMC_SDCLK_Pin FMC_A11_Pin FMC_A10_Pin
                           FMC_BA1_Pin FMC_BA0_Pin */
  GPIO_InitStruct.Pin = FMC_SDNCAS_Pin|FMC_SDCLK_Pin|FMC_A11_Pin|FMC_A10_Pin
                          |FMC_BA1_Pin|FMC_BA0_Pin;
  GPIO_InitStruct.Mode = GPIO_MODE_AF_PP;
  GPIO_InitStruct.Pull = GPIO_NOPULL;
  GPIO_InitStruct.Speed = GPIO_SPEED_FREQ_VERY_HIGH;
  GPIO_InitStruct.Alternate = GPIO_AF12_FMC;
  HAL_GPIO_Init(GPIOG, &GPIO_InitStruct);

  /*Configure GPIO pins : LCD_B1_Pin LCD_B2_Pin LCD_B3_Pin LCD_G4_Pin
                           LCD_G1_Pin LCD_G3_Pin LCD_G0_Pin LCD_G2_Pin
                           LCD_R7_Pin LCD_R5_Pin LCD_R6_Pin LCD_R4_Pin
                           LCD_R3_Pin LCD_R1_Pin LCD_R2_Pin */
  GPIO_InitStruct.Pin = LCD_B1_Pin|LCD_B2_Pin|LCD_B3_Pin|LCD_G4_Pin
                          |LCD_G1_Pin|LCD_G3_Pin|LCD_G0_Pin|LCD_G2_Pin
                          |LCD_R7_Pin|LCD_R5_Pin|LCD_R6_Pin|LCD_R4_Pin
                          |LCD_R3_Pin|LCD_R1_Pin|LCD_R2_Pin;
  GPIO_InitStruct.Mode = GPIO_MODE_AF_PP;
  GPIO_InitStruct.Pull = GPIO_NOPULL;
  GPIO_InitStruct.Speed = GPIO_SPEED_FREQ_LOW;
  GPIO_InitStruct.Alternate = GPIO_AF14_LTDC;
  HAL_GPIO_Init(GPIOJ, &GPIO_InitStruct);

  /*Configure GPIO pin : OTG_FS_VBUS_Pin */
  GPIO_InitStruct.Pin = OTG_FS_VBUS_Pin;
  GPIO_InitStruct.Mode = GPIO_MODE_INPUT;
  GPIO_InitStruct.Pull = GPIO_NOPULL;
  HAL_GPIO_Init(OTG_FS_VBUS_GPIO_Port, &GPIO_InitStruct);

  /*Configure GPIO pin : Audio_INT_Pin */
  GPIO_InitStruct.Pin = Audio_INT_Pin;
  GPIO_InitStruct.Mode = GPIO_MODE_EVT_RISING;
  GPIO_InitStruct.Pull = GPIO_NOPULL;
  HAL_GPIO_Init(Audio_INT_GPIO_Port, &GPIO_InitStruct);

  /*Configure GPIO pins : FMC_D2_Pin FMC_D3_Pin FMC_D1_Pin FMC_D15_Pin
                           FMC_D0_Pin FMC_D14_Pin FMC_D13_Pin */
  GPIO_InitStruct.Pin = FMC_D2_Pin|FMC_D3_Pin|FMC_D1_Pin|FMC_D15_Pin
                          |FMC_D0_Pin|FMC_D14_Pin|FMC_D13_Pin;
  GPIO_InitStruct.Mode = GPIO_MODE_AF_PP;
  GPIO_InitStruct.Pull = GPIO_NOPULL;
  GPIO_InitStruct.Speed = GPIO_SPEED_FREQ_VERY_HIGH;
  GPIO_InitStruct.Alternate = GPIO_AF12_FMC;
  HAL_GPIO_Init(GPIOD, &GPIO_InitStruct);

  /*Configure GPIO pins : OTG_FS_P_Pin OTG_FS_N_Pin OTG_FS_ID_Pin */
  GPIO_InitStruct.Pin = OTG_FS_P_Pin|OTG_FS_N_Pin|OTG_FS_ID_Pin;
  GPIO_InitStruct.Mode = GPIO_MODE_AF_PP;
  GPIO_InitStruct.Pull = GPIO_NOPULL;
  GPIO_InitStruct.Speed = GPIO_SPEED_FREQ_VERY_HIGH;
  GPIO_InitStruct.Alternate = GPIO_AF10_OTG_FS;
  HAL_GPIO_Init(GPIOA, &GPIO_InitStruct);

  /*Configure GPIO pins : SAI2_MCLKA_Pin SAI2_SCKA_Pin SAI2_FSA_Pin SAI2_SDA_Pin */
  GPIO_InitStruct.Pin = SAI2_MCLKA_Pin|SAI2_SCKA_Pin|SAI2_FSA_Pin|SAI2_SDA_Pin;
  GPIO_InitStruct.Mode = GPIO_MODE_AF_PP;
  GPIO_InitStruct.Pull = GPIO_NOPULL;
  GPIO_InitStruct.Speed = GPIO_SPEED_FREQ_LOW;
  GPIO_InitStruct.Alternate = GPIO_AF10_SAI2;
  HAL_GPIO_Init(GPIOI, &GPIO_InitStruct);

  /*Configure GPIO pins : LCD_DE_Pin LCD_B7_Pin LCD_B6_Pin LCD_B5_Pin
                           LCD_G6_Pin LCD_G7_Pin LCD_G5_Pin */
  GPIO_InitStruct.Pin = LCD_DE_Pin|LCD_B7_Pin|LCD_B6_Pin|LCD_B5_Pin
                          |LCD_G6_Pin|LCD_G7_Pin|LCD_G5_Pin;
  GPIO_InitStruct.Mode = GPIO_MODE_AF_PP;
  GPIO_InitStruct.Pull = GPIO_NOPULL;
  GPIO_InitStruct.Speed = GPIO_SPEED_FREQ_LOW;
  GPIO_InitStruct.Alternate = GPIO_AF14_LTDC;
  HAL_GPIO_Init(GPIOK, &GPIO_InitStruct);

  /*Configure GPIO pin : LCD_B4_Pin */
  GPIO_InitStruct.Pin = LCD_B4_Pin;
  GPIO_InitStruct.Mode = GPIO_MODE_AF_PP;
  GPIO_InitStruct.Pull = GPIO_NOPULL;
  GPIO_InitStruct.Speed = GPIO_SPEED_FREQ_LOW;
  GPIO_InitStruct.Alternate = GPIO_AF9_LTDC;
  HAL_GPIO_Init(LCD_B4_GPIO_Port, &GPIO_InitStruct);

  /*Configure GPIO pin : SAI2_SDB_Pin */
  GPIO_InitStruct.Pin = SAI2_SDB_Pin;
  GPIO_InitStruct.Mode = GPIO_MODE_AF_PP;
  GPIO_InitStruct.Pull = GPIO_NOPULL;
  GPIO_InitStruct.Speed = GPIO_SPEED_FREQ_LOW;
  GPIO_InitStruct.Alternate = GPIO_AF10_SAI2;
  HAL_GPIO_Init(SAI2_SDB_GPIO_Port, &GPIO_InitStruct);

  /*Configure GPIO pin : OTG_FS_PowerSwitchOn_Pin */
  GPIO_InitStruct.Pin = OTG_FS_PowerSwitchOn_Pin;
  GPIO_InitStruct.Mode = GPIO_MODE_OUTPUT_PP;
  GPIO_InitStruct.Pull = GPIO_NOPULL;
  GPIO_InitStruct.Speed = GPIO_SPEED_FREQ_LOW;
  HAL_GPIO_Init(OTG_FS_PowerSwitchOn_GPIO_Port, &GPIO_InitStruct);

  /*Configure GPIO pin : DCMI_D5_Pin */
  GPIO_InitStruct.Pin = DCMI_D5_Pin;
  GPIO_InitStruct.Mode = GPIO_MODE_AF_PP;
  GPIO_InitStruct.Pull = GPIO_NOPULL;
  GPIO_InitStruct.Speed = GPIO_SPEED_FREQ_LOW;
  GPIO_InitStruct.Alternate = GPIO_AF13_DCMI;
  HAL_GPIO_Init(DCMI_D5_GPIO_Port, &GPIO_InitStruct);

  /*Configure GPIO pins : ARDUINO_D7_Pin LCD_DISP_Pin CS_Pin */
  GPIO_InitStruct.Pin = ARDUINO_D7_Pin|LCD_DISP_Pin|CS_Pin;
  GPIO_InitStruct.Mode = GPIO_MODE_OUTPUT_PP;
  GPIO_InitStruct.Pull = GPIO_NOPULL;
  GPIO_InitStruct.Speed = GPIO_SPEED_FREQ_LOW;
  HAL_GPIO_Init(GPIOI, &GPIO_InitStruct);

  /*Configure GPIO pin : DIO0_Pin */
  GPIO_InitStruct.Pin = DIO0_Pin;
  GPIO_InitStruct.Mode = GPIO_MODE_IT_RISING;
  GPIO_InitStruct.Pull = GPIO_NOPULL;
  HAL_GPIO_Init(DIO0_GPIO_Port, &GPIO_InitStruct);

  /*Configure GPIO pin : uSD_Detect_Pin */
  GPIO_InitStruct.Pin = uSD_Detect_Pin;
  GPIO_InitStruct.Mode = GPIO_MODE_INPUT;
  GPIO_InitStruct.Pull = GPIO_NOPULL;
  HAL_GPIO_Init(uSD_Detect_GPIO_Port, &GPIO_InitStruct);

  /*Configure GPIO pins : FMC_A0_Pin FMC_A1_Pin FMC_A2_Pin FMC_A3_Pin
                           FMC_A4_Pin FMC_A5_Pin FMC_A6_Pin FMC_A9_Pin
                           FMC_A7_Pin FMC_A8_Pin FMC_SDNRAS_Pin */
  GPIO_InitStruct.Pin = FMC_A0_Pin|FMC_A1_Pin|FMC_A2_Pin|FMC_A3_Pin
                          |FMC_A4_Pin|FMC_A5_Pin|FMC_A6_Pin|FMC_A9_Pin
                          |FMC_A7_Pin|FMC_A8_Pin|FMC_SDNRAS_Pin;
  GPIO_InitStruct.Mode = GPIO_MODE_AF_PP;
  GPIO_InitStruct.Pull = GPIO_NOPULL;
  GPIO_InitStruct.Speed = GPIO_SPEED_FREQ_VERY_HIGH;
  GPIO_InitStruct.Alternate = GPIO_AF12_FMC;
  HAL_GPIO_Init(GPIOF, &GPIO_InitStruct);

  /*Configure GPIO pins : LCD_HSYNC_Pin LCD_VSYNC_Pin LCD_R0_Pin LCD_CLK_Pin */
  GPIO_InitStruct.Pin = LCD_HSYNC_Pin|LCD_VSYNC_Pin|LCD_R0_Pin|LCD_CLK_Pin;
  GPIO_InitStruct.Mode = GPIO_MODE_AF_PP;
  GPIO_InitStruct.Pull = GPIO_NOPULL;
  GPIO_InitStruct.Speed = GPIO_SPEED_FREQ_LOW;
  GPIO_InitStruct.Alternate = GPIO_AF14_LTDC;
  HAL_GPIO_Init(GPIOI, &GPIO_InitStruct);

  /*Configure GPIO pin : LCD_BL_CTRL_Pin */
  GPIO_InitStruct.Pin = LCD_BL_CTRL_Pin;
  GPIO_InitStruct.Mode = GPIO_MODE_OUTPUT_PP;
  GPIO_InitStruct.Pull = GPIO_NOPULL;
  GPIO_InitStruct.Speed = GPIO_SPEED_FREQ_LOW;
  HAL_GPIO_Init(LCD_BL_CTRL_GPIO_Port, &GPIO_InitStruct);

  /*Configure GPIO pin : DCMI_VSYNC_Pin */
  GPIO_InitStruct.Pin = DCMI_VSYNC_Pin;
  GPIO_InitStruct.Mode = GPIO_MODE_AF_PP;
  GPIO_InitStruct.Pull = GPIO_NOPULL;
  GPIO_InitStruct.Speed = GPIO_SPEED_FREQ_LOW;
  GPIO_InitStruct.Alternate = GPIO_AF13_DCMI;
  HAL_GPIO_Init(DCMI_VSYNC_GPIO_Port, &GPIO_InitStruct);

  /*Configure GPIO pin : OTG_FS_OverCurrent_Pin */
  GPIO_InitStruct.Pin = OTG_FS_OverCurrent_Pin;
  GPIO_InitStruct.Mode = GPIO_MODE_INPUT;
  GPIO_InitStruct.Pull = GPIO_NOPULL;
  HAL_GPIO_Init(OTG_FS_OverCurrent_GPIO_Port, &GPIO_InitStruct);

  /*Configure GPIO pin : SDMMC_D0_Pin */
  GPIO_InitStruct.Pin = SDMMC_D0_Pin;
  GPIO_InitStruct.Mode = GPIO_MODE_AF_PP;
  GPIO_InitStruct.Pull = GPIO_NOPULL;
  GPIO_InitStruct.Speed = GPIO_SPEED_FREQ_VERY_HIGH;
  GPIO_InitStruct.Alternate = GPIO_AF12_SDMMC1;
  HAL_GPIO_Init(SDMMC_D0_GPIO_Port, &GPIO_InitStruct);

  /*Configure GPIO pins : TP3_Pin NC2_Pin */
  GPIO_InitStruct.Pin = TP3_Pin|NC2_Pin;
  GPIO_InitStruct.Mode = GPIO_MODE_INPUT;
  GPIO_InitStruct.Pull = GPIO_NOPULL;
  HAL_GPIO_Init(GPIOH, &GPIO_InitStruct);

  /*Configure GPIO pin : DCMI_PWR_EN_Pin */
  GPIO_InitStruct.Pin = DCMI_PWR_EN_Pin;
  GPIO_InitStruct.Mode = GPIO_MODE_OUTPUT_PP;
  GPIO_InitStruct.Pull = GPIO_NOPULL;
  GPIO_InitStruct.Speed = GPIO_SPEED_FREQ_LOW;
  HAL_GPIO_Init(DCMI_PWR_EN_GPIO_Port, &GPIO_InitStruct);

  /*Configure GPIO pins : DCMI_D4_Pin DCMI_D3_Pin DCMI_D0_Pin DCMI_D2_Pin
                           DCMI_D1_Pin */
  GPIO_InitStruct.Pin = DCMI_D4_Pin|DCMI_D3_Pin|DCMI_D0_Pin|DCMI_D2_Pin
                          |DCMI_D1_Pin;
  GPIO_InitStruct.Mode = GPIO_MODE_AF_PP;
  GPIO_InitStruct.Pull = GPIO_NOPULL;
  GPIO_InitStruct.Speed = GPIO_SPEED_FREQ_LOW;
  GPIO_InitStruct.Alternate = GPIO_AF13_DCMI;
  HAL_GPIO_Init(GPIOH, &GPIO_InitStruct);

  /*Configure GPIO pin : ARDUINO_PWM_D10_Pin */
  GPIO_InitStruct.Pin = ARDUINO_PWM_D10_Pin;
  GPIO_InitStruct.Mode = GPIO_MODE_AF_PP;
  GPIO_InitStruct.Pull = GPIO_NOPULL;
  GPIO_InitStruct.Speed = GPIO_SPEED_FREQ_LOW;
  GPIO_InitStruct.Alternate = GPIO_AF1_TIM1;
  HAL_GPIO_Init(ARDUINO_PWM_D10_GPIO_Port, &GPIO_InitStruct);

  /*Configure GPIO pin : LCD_INT_Pin */
  GPIO_InitStruct.Pin = LCD_INT_Pin;
  GPIO_InitStruct.Mode = GPIO_MODE_EVT_RISING;
  GPIO_InitStruct.Pull = GPIO_NOPULL;
  HAL_GPIO_Init(LCD_INT_GPIO_Port, &GPIO_InitStruct);

  /*Configure GPIO pins : ARDUINO_RX_D0_Pin ARDUINO_TX_D1_Pin */
  GPIO_InitStruct.Pin = ARDUINO_RX_D0_Pin|ARDUINO_TX_D1_Pin;
  GPIO_InitStruct.Mode = GPIO_MODE_AF_PP;
  GPIO_InitStruct.Pull = GPIO_NOPULL;
  GPIO_InitStruct.Speed = GPIO_SPEED_FREQ_VERY_HIGH;
  GPIO_InitStruct.Alternate = GPIO_AF8_USART6;
  HAL_GPIO_Init(GPIOC, &GPIO_InitStruct);

  /*Configure GPIO pin : ULPI_NXT_Pin */
  GPIO_InitStruct.Pin = ULPI_NXT_Pin;
  GPIO_InitStruct.Mode = GPIO_MODE_AF_PP;
  GPIO_InitStruct.Pull = GPIO_NOPULL;
  GPIO_InitStruct.Speed = GPIO_SPEED_FREQ_VERY_HIGH;
  GPIO_InitStruct.Alternate = GPIO_AF10_OTG_HS;
  HAL_GPIO_Init(ULPI_NXT_GPIO_Port, &GPIO_InitStruct);

  /*Configure GPIO pins : FMC_SDNME_Pin FMC_SDNE0_Pin */
  GPIO_InitStruct.Pin = FMC_SDNME_Pin|FMC_SDNE0_Pin;
  GPIO_InitStruct.Mode = GPIO_MODE_AF_PP;
  GPIO_InitStruct.Pull = GPIO_NOPULL;
  GPIO_InitStruct.Speed = GPIO_SPEED_FREQ_VERY_HIGH;
  GPIO_InitStruct.Alternate = GPIO_AF12_FMC;
  HAL_GPIO_Init(GPIOH, &GPIO_InitStruct);

  /*Configure GPIO pins : ARDUINO_D4_Pin ARDUINO_D2_Pin EXT_RST_Pin */
  GPIO_InitStruct.Pin = ARDUINO_D4_Pin|ARDUINO_D2_Pin|EXT_RST_Pin;
  GPIO_InitStruct.Mode = GPIO_MODE_OUTPUT_PP;
  GPIO_InitStruct.Pull = GPIO_NOPULL;
  GPIO_InitStruct.Speed = GPIO_SPEED_FREQ_LOW;
  HAL_GPIO_Init(GPIOG, &GPIO_InitStruct);

  /*Configure GPIO pins : ARDUINO_A4_Pin ARDUINO_A5_Pin ARDUINO_A1_Pin ARDUINO_A2_Pin
                           ARDUINO_A3_Pin */
  GPIO_InitStruct.Pin = ARDUINO_A4_Pin|ARDUINO_A5_Pin|ARDUINO_A1_Pin|ARDUINO_A2_Pin
                          |ARDUINO_A3_Pin;
  GPIO_InitStruct.Mode = GPIO_MODE_ANALOG;
  GPIO_InitStruct.Pull = GPIO_NOPULL;
  HAL_GPIO_Init(GPIOF, &GPIO_InitStruct);

  /*Configure GPIO pin : FMC_SDCKE0_Pin */
  GPIO_InitStruct.Pin = FMC_SDCKE0_Pin;
  GPIO_InitStruct.Mode = GPIO_MODE_AF_PP;
  GPIO_InitStruct.Pull = GPIO_NOPULL;
  GPIO_InitStruct.Speed = GPIO_SPEED_FREQ_VERY_HIGH;
  GPIO_InitStruct.Alternate = GPIO_AF12_FMC;
  HAL_GPIO_Init(FMC_SDCKE0_GPIO_Port, &GPIO_InitStruct);

  /*Configure GPIO pins : ULPI_STP_Pin ULPI_DIR_Pin */
  GPIO_InitStruct.Pin = ULPI_STP_Pin|ULPI_DIR_Pin;
  GPIO_InitStruct.Mode = GPIO_MODE_AF_PP;
  GPIO_InitStruct.Pull = GPIO_NOPULL;
  GPIO_InitStruct.Speed = GPIO_SPEED_FREQ_VERY_HIGH;
  GPIO_InitStruct.Alternate = GPIO_AF10_OTG_HS;
  HAL_GPIO_Init(GPIOC, &GPIO_InitStruct);

  /*Configure GPIO pins : RMII_MDC_Pin RMII_RXD0_Pin RMII_RXD1_Pin */
  GPIO_InitStruct.Pin = RMII_MDC_Pin|RMII_RXD0_Pin|RMII_RXD1_Pin;
  GPIO_InitStruct.Mode = GPIO_MODE_AF_PP;
  GPIO_InitStruct.Pull = GPIO_NOPULL;
  GPIO_InitStruct.Speed = GPIO_SPEED_FREQ_VERY_HIGH;
  GPIO_InitStruct.Alternate = GPIO_AF11_ETH;
  HAL_GPIO_Init(GPIOC, &GPIO_InitStruct);

  /*Configure GPIO pin : PB2 */
  GPIO_InitStruct.Pin = GPIO_PIN_2;
  GPIO_InitStruct.Mode = GPIO_MODE_AF_PP;
  GPIO_InitStruct.Pull = GPIO_NOPULL;
  GPIO_InitStruct.Speed = GPIO_SPEED_FREQ_VERY_HIGH;
  GPIO_InitStruct.Alternate = GPIO_AF9_QUADSPI;
  HAL_GPIO_Init(GPIOB, &GPIO_InitStruct);

  /*Configure GPIO pins : QSPI_D1_Pin QSPI_D3_Pin QSPI_D0_Pin */
  GPIO_InitStruct.Pin = QSPI_D1_Pin|QSPI_D3_Pin|QSPI_D0_Pin;
  GPIO_InitStruct.Mode = GPIO_MODE_AF_PP;
  GPIO_InitStruct.Pull = GPIO_NOPULL;
  GPIO_InitStruct.Speed = GPIO_SPEED_FREQ_VERY_HIGH;
  GPIO_InitStruct.Alternate = GPIO_AF9_QUADSPI;
  HAL_GPIO_Init(GPIOD, &GPIO_InitStruct);

  /*Configure GPIO pin : RMII_RXER_Pin */
  GPIO_InitStruct.Pin = RMII_RXER_Pin;
  GPIO_InitStruct.Mode = GPIO_MODE_INPUT;
  GPIO_InitStruct.Pull = GPIO_NOPULL;
  HAL_GPIO_Init(RMII_RXER_GPIO_Port, &GPIO_InitStruct);

  /*Configure GPIO pins : RMII_REF_CLK_Pin RMII_MDIO_Pin RMII_CRS_DV_Pin */
  GPIO_InitStruct.Pin = RMII_REF_CLK_Pin|RMII_MDIO_Pin|RMII_CRS_DV_Pin;
  GPIO_InitStruct.Mode = GPIO_MODE_AF_PP;
  GPIO_InitStruct.Pull = GPIO_NOPULL;
  GPIO_InitStruct.Speed = GPIO_SPEED_FREQ_VERY_HIGH;
  GPIO_InitStruct.Alternate = GPIO_AF11_ETH;
  HAL_GPIO_Init(GPIOA, &GPIO_InitStruct);

  /*Configure GPIO pin : ARDUINO_A0_Pin */
  GPIO_InitStruct.Pin = ARDUINO_A0_Pin;
  GPIO_InitStruct.Mode = GPIO_MODE_ANALOG;
  GPIO_InitStruct.Pull = GPIO_NOPULL;
  HAL_GPIO_Init(ARDUINO_A0_GPIO_Port, &GPIO_InitStruct);

  /*Configure GPIO pins : DCMI_HSYNC_Pin PA6 */
  GPIO_InitStruct.Pin = DCMI_HSYNC_Pin|GPIO_PIN_6;
  GPIO_InitStruct.Mode = GPIO_MODE_AF_PP;
  GPIO_InitStruct.Pull = GPIO_NOPULL;
  GPIO_InitStruct.Speed = GPIO_SPEED_FREQ_LOW;
  GPIO_InitStruct.Alternate = GPIO_AF13_DCMI;
  HAL_GPIO_Init(GPIOA, &GPIO_InitStruct);

  /*Configure GPIO pins : LCD_SCL_Pin LCD_SDA_Pin */
  GPIO_InitStruct.Pin = LCD_SCL_Pin|LCD_SDA_Pin;
  GPIO_InitStruct.Mode = GPIO_MODE_AF_OD;
  GPIO_InitStruct.Pull = GPIO_NOPULL;
  GPIO_InitStruct.Speed = GPIO_SPEED_FREQ_VERY_HIGH;
  GPIO_InitStruct.Alternate = GPIO_AF4_I2C3;
  HAL_GPIO_Init(GPIOH, &GPIO_InitStruct);

  /*Configure GPIO pins : ULPI_CLK_Pin ULPI_D0_Pin */
  GPIO_InitStruct.Pin = ULPI_CLK_Pin|ULPI_D0_Pin;
  GPIO_InitStruct.Mode = GPIO_MODE_AF_PP;
  GPIO_InitStruct.Pull = GPIO_NOPULL;
  GPIO_InitStruct.Speed = GPIO_SPEED_FREQ_VERY_HIGH;
  GPIO_InitStruct.Alternate = GPIO_AF10_OTG_HS;
  HAL_GPIO_Init(GPIOA, &GPIO_InitStruct);

  /*Configure GPIO pin : ARDUINO_PWM_D6_Pin */
  GPIO_InitStruct.Pin = ARDUINO_PWM_D6_Pin;
  GPIO_InitStruct.Mode = GPIO_MODE_AF_PP;
  GPIO_InitStruct.Pull = GPIO_NOPULL;
  GPIO_InitStruct.Speed = GPIO_SPEED_FREQ_LOW;
  GPIO_InitStruct.Alternate = GPIO_AF9_TIM12;
  HAL_GPIO_Init(ARDUINO_PWM_D6_GPIO_Port, &GPIO_InitStruct);

  /* EXTI interrupt init*/
  HAL_NVIC_SetPriority(EXTI2_IRQn, 0, 0);
  HAL_NVIC_EnableIRQ(EXTI2_IRQn);

}

void Error_Handler(void)
{
  __disable_irq();
  while (1)
  {
  }
}
